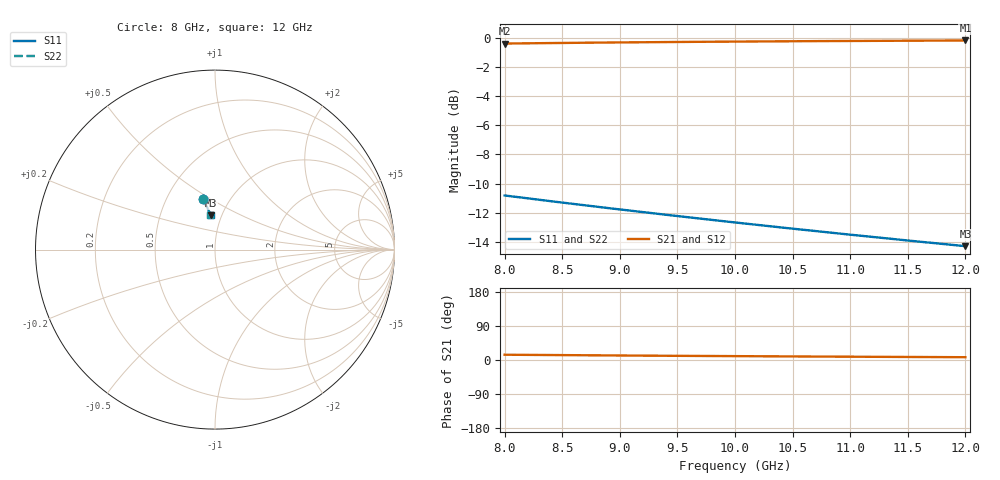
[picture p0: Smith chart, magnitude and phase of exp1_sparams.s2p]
! Touchstone file exported from HFSS 2022.1.0
!  File:  C:/Users/Mahdi/Documents/Ansoft/mlab_project1.aedt
!  Generated:  12:35:54 PM  May 11, 2022
!  Design:  HFSSDesign1
!  Project:  mlab_project1
!  Setup:  Setup1
!  Solution:  Sweep
! Variables:
!  a = 22.86mm
!  b = 10.16mm
!  f = 10GHz
!  l = 6.18mm
!  l_wg = 30.0792458mm
!  la = 0.0299792458meter
!  t = 100um
!  w_iris = 10.5mm
# GHz S MA R 50.000000
! Terminal data exported
! Port[1] = 1
! Port[2] = 2
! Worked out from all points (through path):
!   201 points, 8 GHz to 12 GHz, reference 50 ohm
!   highest |S21| = -0.17 dB at 12 GHz (marker M1); lowest = -0.4 dB at 8 GHz (marker M2)
!   group delay of S21, straight-line fit = 4.5 ps
!   lowest |S11| = -14.3 dB at 12 GHz (marker M3), VSWR 1.48, Z = 44.4 + j17.6 ohm
!   |S11| at or under -10 dB: start of sweep to end of sweep
!   |S22| runs from -14.3 to -10.8 dB; largest |S21 - S12| = 3.3e-15
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8  0.2878 104.0  0.9575 13.9  0.9575 13.9  0.2878 103.9
! Gamma 0 96.1401703464393 0 96.1405293072504
! Port Impedance 50 0 50 0
8.16  0.2826 103.6  0.959 13.6  0.959 13.6  0.2826 103.6
8.34  0.2769 103.2  0.9607 13.2  0.9607 13.2  0.2769 103.2
8.5  0.272 102.9  0.9621 12.8  0.9621 12.8  0.272 102.8
8.68  0.2667 102.5  0.9636 12.5  0.9636 12.5  0.2667 102.5
8.84  0.2621 102.2  0.9648 12.2  0.9648 12.2  0.2621 102.2
9  0.2577 101.9  0.966 11.9  0.966 11.9  0.2577 101.9
9.16  0.2533 101.6  0.9672 11.6  0.9672 11.6  0.2533 101.6
9.34  0.2486 101.2  0.9684 11.2  0.9684 11.2  0.2486 101.3
9.5  0.2445 100.9  0.9694 11.0  0.9694 11.0  0.2445 101.0
9.66  0.2405 100.6  0.9704 10.7  0.9704 10.7  0.2405 100.8
9.82  0.2367 100.4  0.9714 10.4  0.9714 10.4  0.2367 100.5
10  0.2324 100.1  0.9724 10.1  0.9724 10.1  0.2324 100.2
10.16  0.2288 99.8  0.9733 9.9  0.9733 9.9  0.2288 100.0
10.34  0.2248 99.5  0.9742 9.6  0.9742 9.6  0.2248 99.7
10.5  0.2213 99.2  0.975 9.4  0.975 9.4  0.2213 99.5
10.68  0.2175 99.0  0.9759 9.1  0.9759 9.1  0.2175 99.3
11  0.211 98.5  0.9773 8.7  0.9773 8.7  0.211 98.9
11.16  0.2079 98.2  0.978 8.4  0.978 8.4  0.2079 98.7
11.34  0.2045 98.0  0.9787 8.2  0.9787 8.2  0.2045 98.4
11.66  0.1986 97.5  0.9799 7.8  0.9799 7.8  0.1986 98.0
12  0.1927 97.0  0.9811 7.4  0.9811 7.4  0.1927 97.7
